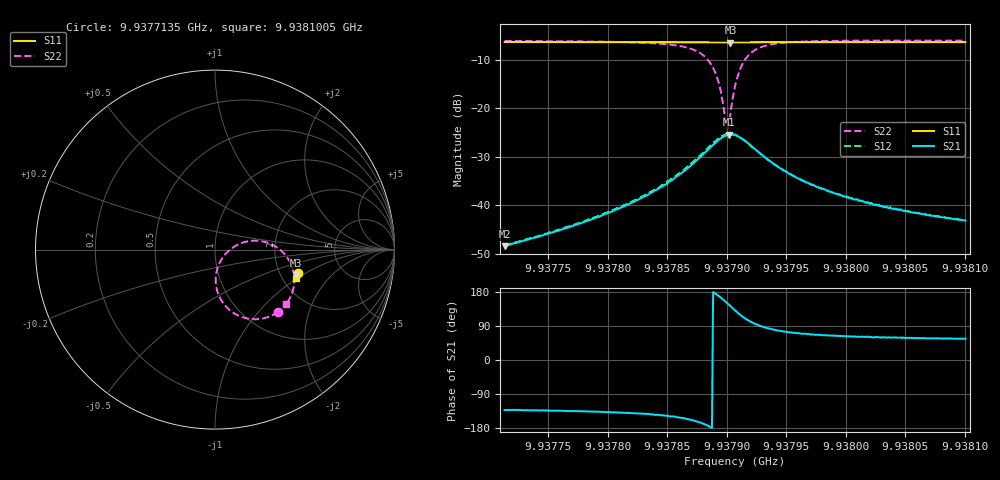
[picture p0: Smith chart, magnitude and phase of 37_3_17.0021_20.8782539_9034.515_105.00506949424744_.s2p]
#  HZ  S  RI  R  50.00
! Rohde & Schwarz Vector Network Analyzer
! Rohde-Schwarz,ZNB20-2Port,1311601062101988,3.16
! Created: UTC 3/20/2024, 10:53:45 PM
! freq[Hz]  re:S11  im:S11  re:S21  im:S21  re:S12  im:S12  re:S22  im:S22
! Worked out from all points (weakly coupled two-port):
!   401 points, 9.9377135 GHz to 9.9381005 GHz, reference 50 ohm
!   highest |S21| = -25.44 dB at 9.9379021 GHz (marker M1); lowest = -48.5 dB at 9.9377135 GHz (marker M2)
!   lowest |S11| = -6.5 dB at 9.9379031 GHz (marker M3), VSWR 2.81, Z = 121 - j44.5 ohm
!   |S11| at or under -10 dB: nowhere
!   |S22| runs from -24.1 to -6.0 dB; largest |S21 - S12| = 0.0041
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9.9377135e9  0.4628 -0.1331  -0.00253 -0.00281  -0.0026 -0.00285  0.3517 -0.3464
9.93777832e9  0.461 -0.1377  -0.00467 -0.00463  -0.00484 -0.00464  0.3283 -0.3609
9.93781411e9  0.4599 -0.1404  -0.0074 -0.00643  -0.0077 -0.00643  0.302 -0.3731
9.93784314e9  0.4586 -0.1425  -0.0121 -0.0084  -0.0126 -0.00853  0.2577 -0.3853
9.93786829e9  0.4568 -0.1448  -0.0228 -0.0098  -0.0238 -0.00965  0.168 -0.381
9.9378828e9  0.4549 -0.1454  -0.0353 -0.0055  -0.0373 -0.00427  0.0664 -0.3227
9.9378886e9  0.4538 -0.1452  -0.0417 0.000684  -0.0436 0.00274  0.0236 -0.2599
9.93789247e9  0.4531 -0.1447  -0.0455 0.00733  -0.047 0.01  0.00571 -0.1976
9.93789538e9  0.4527 -0.1442  -0.0471 0.0136  -0.0482 0.0169  0.00553 -0.142
9.93789925e9  0.4524 -0.1433  -0.0464 0.0233  -0.0465 0.0272  0.0311 -0.0634
9.93790021e9  0.4525 -0.143  -0.0458 0.0257  -0.0455 0.0295  0.0425 -0.0453
9.93790215e9  0.4526 -0.1427  -0.0439 0.0305  -0.0426 0.0341  0.0707 -0.0117
9.93790312e9  0.4526 -0.1424  -0.0422 0.0328  -0.0409 0.0363  0.0871 0.00262
9.93790699e9  0.4533 -0.1415  -0.0346 0.0398  -0.0322 0.0426  0.163 0.0413
9.93790989e9  0.4539 -0.1412  -0.0278 0.0429  -0.0252 0.0447  0.2214 0.0498
9.93791376e9  0.4549 -0.1411  -0.019 0.0436  -0.0164 0.0447  0.2899 0.0391
9.9379244e9  0.4567 -0.1423  -0.00309 0.0372  -0.00121 0.037  0.4002 -0.0408
9.93794472e9  0.4575 -0.145  0.00534 0.0235  0.00605 0.0233  0.4416 -0.16
9.9379718e9  0.4571 -0.1478  0.0062 0.0151  0.00669 0.0148  0.4336 -0.229
9.93800083e9  0.4563 -0.1502  0.00555 0.0107  0.00594 0.0108  0.4212 -0.2626
9.93803662e9  0.4554 -0.1527  0.00466 0.00814  0.00493 0.008  0.4096 -0.2842
9.93810047e9  0.4536 -0.157  0.00388 0.00576  0.00405 0.00573  0.3958 -0.3045
